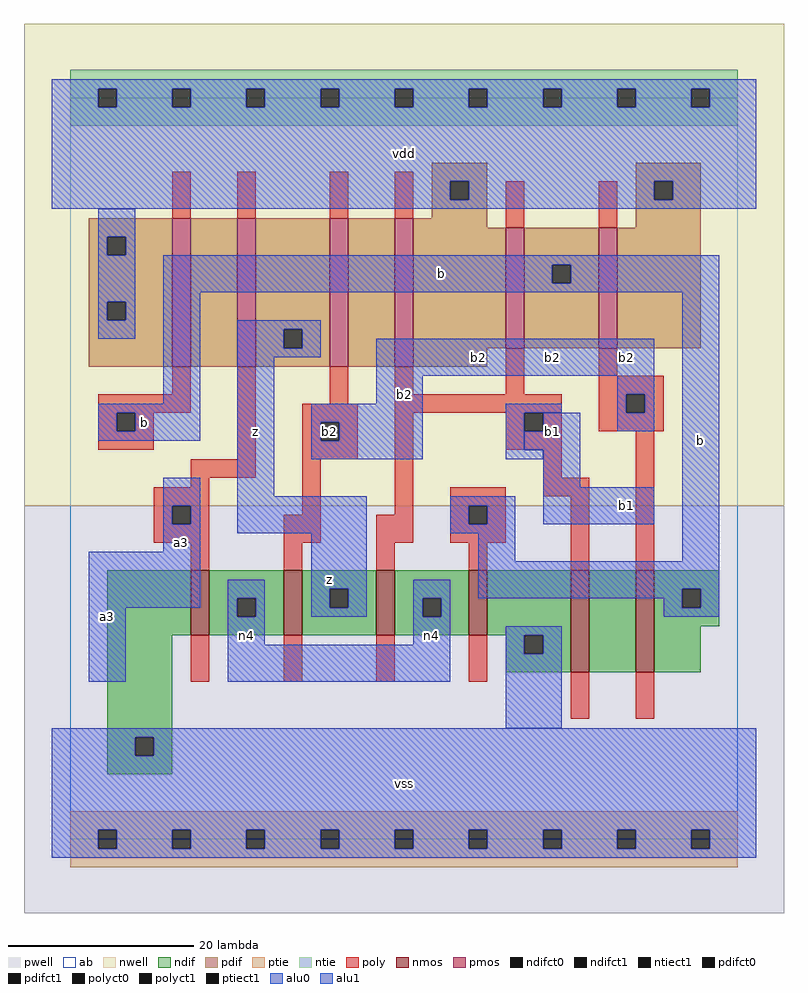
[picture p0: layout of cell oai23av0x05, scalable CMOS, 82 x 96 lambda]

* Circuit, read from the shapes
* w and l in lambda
.subckt oai23av0x05 a3 b b1 b2 n4 vdd vss z
M1 n4 a3 vss vss nfet w=7 l=2
M2 z b2 n4 vss nfet w=7 l=2
M3 n4 b1 z vss nfet w=7 l=2
M4 vss b n4 vss nfet w=7 l=2
M5 n1 b1 vss vss nfet w=11 l=2
M6 b b2 n1 vss nfet w=11 l=2
M7 n2 b vdd vdd pfet w=16 l=2
M8 z a3 n2 vdd pfet w=16 l=2
M9 n3 b2 z vdd pfet w=16 l=2
M10 vdd b1 n3 vdd pfet w=16 l=2
M11 b b1 vdd vdd pfet w=13 l=2
M12 vdd b2 b vdd pfet w=13 l=2
.ends

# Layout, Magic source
magic
tech scmos
<< ab >>
rect 0 0 72 80
<< nwell >>
rect -5 36 77 88
<< pwell >>
rect -5 -8 77 36
<< poly >>
rect 11 67 13 72
rect 18 67 20 72
rect 28 67 30 72
rect 35 67 37 72
rect 47 66 49 71
rect 57 66 59 71
rect 11 48 13 51
rect 3 46 13 48
rect 3 44 5 46
rect 7 44 9 46
rect 3 42 9 44
rect 18 41 20 51
rect 28 47 30 51
rect 35 48 37 51
rect 47 48 49 53
rect 57 50 59 53
rect 57 48 64 50
rect 13 39 20 41
rect 25 45 31 47
rect 25 43 27 45
rect 29 43 31 45
rect 25 41 31 43
rect 35 46 53 48
rect 13 38 15 39
rect 9 36 15 38
rect 9 34 11 36
rect 13 34 15 36
rect 25 35 27 41
rect 35 35 37 46
rect 47 44 49 46
rect 51 44 53 46
rect 57 46 60 48
rect 62 46 64 48
rect 57 44 64 46
rect 47 42 53 44
rect 51 39 53 42
rect 9 32 15 34
rect 13 29 15 32
rect 23 32 27 35
rect 33 32 37 35
rect 41 36 47 38
rect 51 37 56 39
rect 41 34 43 36
rect 45 34 47 36
rect 41 32 47 34
rect 23 29 25 32
rect 33 29 35 32
rect 43 29 45 32
rect 54 29 56 37
rect 61 29 63 44
rect 13 17 15 22
rect 23 17 25 22
rect 33 17 35 22
rect 43 17 45 22
rect 54 13 56 18
rect 61 13 63 18
<< ndif >>
rect 4 22 13 29
rect 15 26 23 29
rect 15 24 18 26
rect 20 24 23 26
rect 15 22 23 24
rect 25 27 33 29
rect 25 25 28 27
rect 30 25 33 27
rect 25 22 33 25
rect 35 26 43 29
rect 35 24 38 26
rect 40 24 43 26
rect 35 22 43 24
rect 45 22 54 29
rect 4 11 11 22
rect 47 20 49 22
rect 51 20 54 22
rect 47 18 54 20
rect 56 18 61 29
rect 63 27 70 29
rect 63 25 66 27
rect 68 25 70 27
rect 63 23 70 25
rect 63 18 68 23
rect 4 9 7 11
rect 9 9 11 11
rect 4 7 11 9
<< pdif >>
rect 39 71 45 73
rect 61 71 68 73
rect 39 69 41 71
rect 43 69 45 71
rect 39 67 45 69
rect 2 65 11 67
rect 2 63 4 65
rect 6 63 11 65
rect 2 58 11 63
rect 2 56 4 58
rect 6 56 11 58
rect 2 51 11 56
rect 13 51 18 67
rect 20 55 28 67
rect 20 53 23 55
rect 25 53 28 55
rect 20 51 28 53
rect 30 51 35 67
rect 37 66 45 67
rect 61 69 63 71
rect 65 69 68 71
rect 61 66 68 69
rect 37 53 47 66
rect 49 62 57 66
rect 49 60 52 62
rect 54 60 57 62
rect 49 53 57 60
rect 59 53 68 66
rect 37 51 45 53
<< alu1 >>
rect -2 81 74 82
rect -2 79 3 81
rect 5 79 11 81
rect 13 79 19 81
rect 21 79 27 81
rect 29 79 35 81
rect 37 79 43 81
rect 45 79 51 81
rect 53 79 59 81
rect 61 79 67 81
rect 69 79 74 81
rect -2 71 74 79
rect -2 69 41 71
rect 43 69 63 71
rect 65 69 74 71
rect -2 68 74 69
rect 18 55 27 56
rect 18 53 23 55
rect 25 53 27 55
rect 18 52 27 53
rect 10 36 14 39
rect 10 34 11 36
rect 13 34 14 36
rect 10 31 14 34
rect 18 37 22 52
rect 33 50 63 54
rect 33 47 38 50
rect 59 48 63 50
rect 26 45 38 47
rect 26 43 27 45
rect 29 43 38 45
rect 26 41 38 43
rect 59 46 60 48
rect 62 46 63 48
rect 51 44 55 46
rect 59 44 63 46
rect 49 42 55 44
rect 51 38 55 42
rect 18 33 32 37
rect 51 34 63 38
rect 2 25 14 31
rect 2 17 6 25
rect 26 27 32 33
rect 26 25 28 27
rect 30 25 32 27
rect 26 24 32 25
rect -2 11 74 12
rect -2 9 7 11
rect 9 9 74 11
rect -2 1 74 9
rect -2 -1 3 1
rect 5 -1 11 1
rect 13 -1 19 1
rect 21 -1 27 1
rect 29 -1 35 1
rect 37 -1 43 1
rect 45 -1 51 1
rect 53 -1 59 1
rect 61 -1 67 1
rect 69 -1 74 1
rect -2 -2 74 -1
<< ptie >>
rect 0 1 72 3
rect 0 -1 3 1
rect 5 -1 11 1
rect 13 -1 19 1
rect 21 -1 27 1
rect 29 -1 35 1
rect 37 -1 43 1
rect 45 -1 51 1
rect 53 -1 59 1
rect 61 -1 67 1
rect 69 -1 72 1
rect 0 -3 72 -1
<< ntie >>
rect 0 81 72 83
rect 0 79 3 81
rect 5 79 11 81
rect 13 79 19 81
rect 21 79 27 81
rect 29 79 35 81
rect 37 79 43 81
rect 45 79 51 81
rect 53 79 59 81
rect 61 79 67 81
rect 69 79 72 81
rect 0 77 72 79
<< nmos >>
rect 13 22 15 29
rect 23 22 25 29
rect 33 22 35 29
rect 43 22 45 29
rect 54 18 56 29
rect 61 18 63 29
<< pmos >>
rect 11 51 13 67
rect 18 51 20 67
rect 28 51 30 67
rect 35 51 37 67
rect 47 53 49 66
rect 57 53 59 66
<< polyct0 >>
rect 5 44 7 46
rect 43 34 45 36
<< polyct1 >>
rect 27 43 29 45
rect 11 34 13 36
rect 49 44 51 46
rect 60 46 62 48
<< ndifct0 >>
rect 18 24 20 26
rect 38 24 40 26
rect 49 20 51 22
rect 66 25 68 27
<< ndifct1 >>
rect 28 25 30 27
rect 7 9 9 11
<< ntiect1 >>
rect 3 79 5 81
rect 11 79 13 81
rect 19 79 21 81
rect 27 79 29 81
rect 35 79 37 81
rect 43 79 45 81
rect 51 79 53 81
rect 59 79 61 81
rect 67 79 69 81
<< ptiect1 >>
rect 3 -1 5 1
rect 11 -1 13 1
rect 19 -1 21 1
rect 27 -1 29 1
rect 35 -1 37 1
rect 43 -1 45 1
rect 51 -1 53 1
rect 59 -1 61 1
rect 67 -1 69 1
<< pdifct0 >>
rect 4 63 6 65
rect 4 56 6 58
rect 52 60 54 62
<< pdifct1 >>
rect 41 69 43 71
rect 23 53 25 55
rect 63 69 65 71
<< alu0 >>
rect 3 65 7 68
rect 3 63 4 65
rect 6 63 7 65
rect 3 58 7 63
rect 3 56 4 58
rect 6 56 7 58
rect 3 54 7 56
rect 10 62 70 63
rect 10 60 52 62
rect 54 60 70 62
rect 10 59 70 60
rect 10 47 14 59
rect 3 46 14 47
rect 3 44 5 46
rect 7 44 14 46
rect 3 43 14 44
rect 47 46 53 47
rect 47 42 49 46
rect 47 41 51 42
rect 41 36 48 37
rect 41 34 43 36
rect 45 34 48 36
rect 41 33 48 34
rect 17 26 21 28
rect 17 24 18 26
rect 20 24 21 26
rect 44 30 48 33
rect 66 30 70 59
rect 37 26 41 28
rect 44 27 70 30
rect 44 26 66 27
rect 37 24 38 26
rect 40 24 41 26
rect 64 25 66 26
rect 68 25 70 27
rect 64 24 70 25
rect 17 21 21 24
rect 37 21 41 24
rect 17 17 41 21
rect 47 22 53 23
rect 47 20 49 22
rect 51 20 53 22
rect 47 12 53 20
<< labels >>
rlabel alu0 8 45 8 45 6 b
rlabel alu0 19 22 19 22 6 n4
rlabel alu0 39 22 39 22 6 n4
rlabel alu0 40 61 40 61 6 b
rlabel alu0 68 43 68 43 6 b
rlabel alu1 12 32 12 32 6 a3
rlabel alu1 4 24 4 24 6 a3
rlabel alu1 28 28 28 28 6 z
rlabel polyct1 28 44 28 44 6 b2
rlabel alu1 20 44 20 44 6 z
rlabel alu1 36 6 36 6 6 vss
rlabel alu1 52 44 52 44 6 b1
rlabel alu1 36 48 36 48 6 b2
rlabel alu1 52 52 52 52 6 b2
rlabel alu1 44 52 44 52 6 b2
rlabel alu1 36 74 36 74 6 vdd
rlabel alu1 60 36 60 36 6 b1
rlabel alu1 60 52 60 52 6 b2
<< end >>
